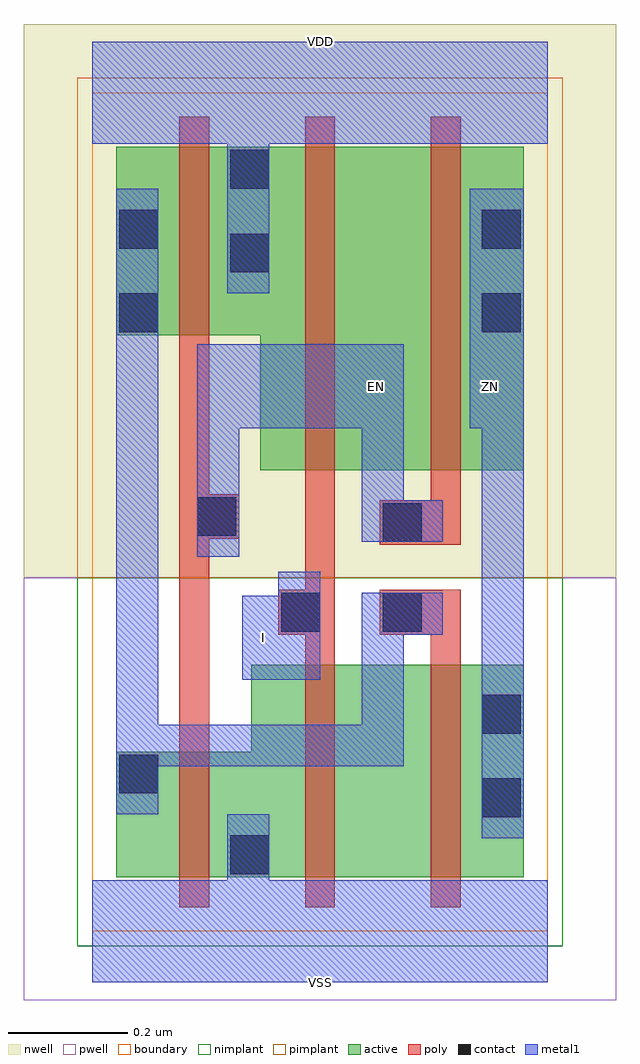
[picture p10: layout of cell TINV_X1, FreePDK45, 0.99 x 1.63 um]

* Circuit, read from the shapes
.subckt TINV_X1 EN I VDD VSS ZN
M1 VSS EN n1 VSUBS nfet w=0.21u l=0.05u
M2 n2 I VSS VSUBS nfet w=0.355u l=0.05u
M3 ZN n1 n2 VSUBS nfet w=0.355u l=0.05u
M4 VDD EN n1 n3 pfet w=0.315u l=0.05u
M5 n4 I VDD n3 pfet w=0.54u l=0.05u
M6 ZN EN n4 n3 pfet w=0.54u l=0.05u
.ends

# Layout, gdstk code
import gdstk
lib = gdstk.Library(unit=1e-6, precision=5e-10)
def R(c, l, rs):  # rectangles x0, y0, x1, y1
    for r in rs: c.add(gdstk.rectangle(r[:2], r[2:], *l))
def P(c, l, *ps):  # polygons
    for p in ps: c.add(gdstk.Polygon(p, *l))
active = (1, 0)
pwell = (2, 0)
nwell = (3, 0)
nimplant = (4, 0)
pimplant = (5, 0)
poly = (9, 0)
contact = (10, 0)
metal1 = (11, 0)
boundary = (235, 0)

tinv_x1 = lib.new_cell('TINV_X1')
P(tinv_x1, active, [(0.04,0.995),(0.28,0.995),(0.28,0.77),(0.72,0.77),(0.72,1.31),(0.04,1.31)],
  [(0.04,0.09),(0.72,0.09),(0.72,0.445),(0.265,0.445),(0.265,0.3),(0.04,0.3)])
R(tinv_x1, pwell, [(-0.115,-0.115,0.875,0.59)])
R(tinv_x1, nwell, [(-0.115,0.59,0.875,1.515)])
R(tinv_x1, nimplant, [(-0.025,-0.025,0.785,0.59)])
R(tinv_x1, pimplant, [(-0.025,0.59,0.785,1.425)])
P(tinv_x1, poly, [(0.48,0.645),(0.615,0.645),(0.615,1.36),(0.565,1.36),(0.565,0.72),(0.48,0.72)],
  [(0.48,0.495),(0.565,0.495),(0.565,0.04),(0.615,0.04),(0.615,0.57),(0.48,0.57)],
  [(0.31,0.495),(0.355,0.495),(0.355,0.04),(0.405,0.04),(0.405,1.36),(0.355,1.36),(0.355,0.57),(0.31,0.57)],
  [(0.145,0.04),(0.195,0.04),(0.195,0.655),(0.245,0.655),(0.245,0.73),(0.195,0.73),(0.195,1.36),(0.145,1.36)])
R(tinv_x1, contact, [(0.23,0.095,0.295,0.16), (0.65,0.19,0.715,0.255), (0.045,0.23,0.11,0.295), (0.65,0.33,0.715,0.395), (0.315,0.5,0.38,0.565), (0.485,0.5,0.55,0.565), (0.485,0.65,0.55,0.715), (0.175,0.66,0.24,0.725), (0.045,1,0.11,1.065), (0.65,1,0.715,1.065), (0.23,1.1,0.295,1.165), (0.045,1.14,0.11,1.205), (0.65,1.14,0.715,1.205), (0.23,1.24,0.295,1.305)])
P(tinv_x1, metal1, [(0,-0.085),(0.76,-0.085),(0.76,0.085),(0.295,0.085),(0.295,0.195),(0.225,0.195),(0.225,0.085),(0,0.085)],
  [(0,1.315),(0.225,1.315),(0.225,1.065),(0.295,1.065),(0.295,1.315),(0.76,1.315),(0.76,1.485),(0,1.485)],
  [(0.63,0.84),(0.65,0.84),(0.65,0.155),(0.72,0.155),(0.72,1.24),(0.63,1.24)],
  [(0.25,0.42),(0.38,0.42),(0.38,0.6),(0.31,0.6),(0.31,0.56),(0.25,0.56)],
  [(0.175,0.625),(0.245,0.625),(0.245,0.84),(0.45,0.84),(0.45,0.65),(0.585,0.65),(0.585,0.72),(0.52,0.72),(0.52,0.98),(0.175,0.98)],
  [(0,1.315),(0.225,1.315),(0.225,1.065),(0.295,1.065),(0.295,1.315),(0.76,1.315),(0.76,1.485),(0,1.485)],
  [(0,-0.085),(0.76,-0.085),(0.76,0.085),(0.295,0.085),(0.295,0.195),(0.225,0.195),(0.225,0.085),(0,0.085)],
  [(0.63,0.84),(0.65,0.84),(0.65,0.155),(0.72,0.155),(0.72,1.24),(0.63,1.24)],
  [(0.175,0.625),(0.245,0.625),(0.245,0.84),(0.45,0.84),(0.45,0.65),(0.585,0.65),(0.585,0.72),(0.52,0.72),(0.52,0.98),(0.175,0.98)],
  [(0.04,0.195),(0.11,0.195),(0.11,0.275),(0.52,0.275),(0.52,0.495),(0.585,0.495),(0.585,0.565),(0.45,0.565),(0.45,0.345),(0.11,0.345),(0.11,1.24),(0.04,1.24)],
  [(0.25,0.42),(0.38,0.42),(0.38,0.6),(0.31,0.6),(0.31,0.56),(0.25,0.56)])
R(tinv_x1, boundary, [(0,0,0.76,1.4)])
tinv_x1.add(gdstk.Label('ZN', (0.665,0.91), layer=11, texttype=0))
tinv_x1.add(gdstk.Label('VSS', (0.38,-0.085), layer=11, texttype=0))
tinv_x1.add(gdstk.Label('VDD', (0.38,1.485), layer=11, texttype=0))
tinv_x1.add(gdstk.Label('I', (0.285,0.49), layer=11, texttype=0))
tinv_x1.add(gdstk.Label('EN', (0.475,0.91), layer=11, texttype=0))

lib.write_gds('TINV_X1.gds')
